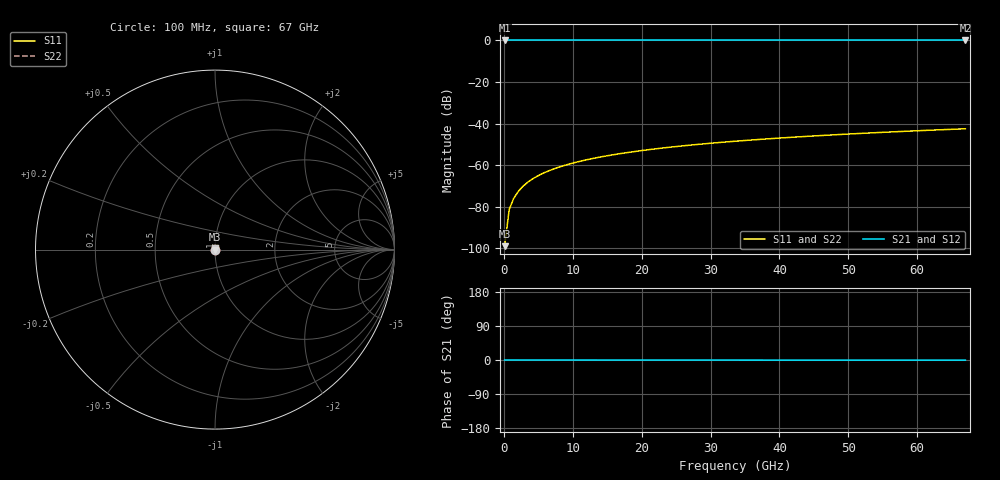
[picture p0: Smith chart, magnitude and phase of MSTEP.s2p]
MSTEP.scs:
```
simulator lang=local
global 0
ahdl_include "D:\saves\Pycharm\HowToElementBuilder\Code\Files\ver\MSTEP.va"
I0 p1 p2 MSTEP T = 2e-06 H = 0.0001 ER0 = 1.0 MU0 = 1.0 TD0 = 0.0 ER1 = 12.9 MU1 = 1.0001 TD1 = 0.003 W1 = 5e-05 W2 = 7e-05 NumPorts = 2
PORT1 p1 0 port r=50 num=1 type=sine rptstart=1 rpttimes=0
PORT2 p2 0 port r=50 num=2 type=sine rptstart=1 rpttimes=0
SPSweep sp start=100000000 stop=67000000000 step=669000000.0 file="D:\saves\Pycharm\HowToElementBuilder\Code\Files\symout\MSTEP.s2p"
DEFAULT_OPTIONS options tnom=27 temp=27  acout=0 fast_spice=0 reltol=1.000000e-003 rawfmt=nutascii
```
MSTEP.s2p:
! Touchstone Ver. 1.0
! Number of ports is 2
# Hz  S RI  R  50
! SCATTERING PARAMETERS  :
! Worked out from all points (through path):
!   101 points, 100 MHz to 67 GHz, reference 50 ohm
!   highest |S21| = 0.00 dB at 100 MHz (marker M1); lowest = 0.0 dB at 67 GHz (marker M2)
!   lowest |S11| = -99.0 dB at 100 MHz (marker M3), VSWR 1.00, Z = 50 + j0.00112 ohm
!   |S11| at or under -10 dB: start of sweep to end of sweep
!   |S22| runs from -99.0 to -42.5 dB; largest |S21 - S12| = 0
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1e8  1.25e-10 1.12e-05  1 -1.12e-05  1 -1.12e-05  1.25e-10 1.12e-05
7.69e8  7.38e-09 8.59e-05  1 -8.59e-05  1 -8.59e-05  7.38e-09 8.59e-05
2.107e9  5.54e-08 0.000235  1 -0.000235  1 -0.000235  5.54e-08 0.000235
4.114e9  2.11e-07 0.00046  1 -0.00046  1 -0.00046  2.11e-07 0.00046
6.121e9  4.68e-07 0.000684  1 -0.000684  1 -0.000684  4.68e-07 0.000684
9.466e9  1.12e-06 0.00106  1 -0.00106  1 -0.00106  1.12e-06 0.00106
1.348e10  2.27e-06 0.00151  1 -0.00151  1 -0.00151  2.27e-06 0.00151
1.8832e10  4.43e-06 0.0021  1 -0.0021  1 -0.0021  4.43e-06 0.0021
3.355e10  1.41e-05 0.00375  1 -0.00375  1 -0.00375  1.41e-05 0.00375
4.8268e10  2.91e-05 0.00539  1 -0.00539  1 -0.00539  2.91e-05 0.00539
6.7e10  5.6e-05 0.00748  0.9999 -0.00748  0.9999 -0.00748  5.6e-05 0.00748
